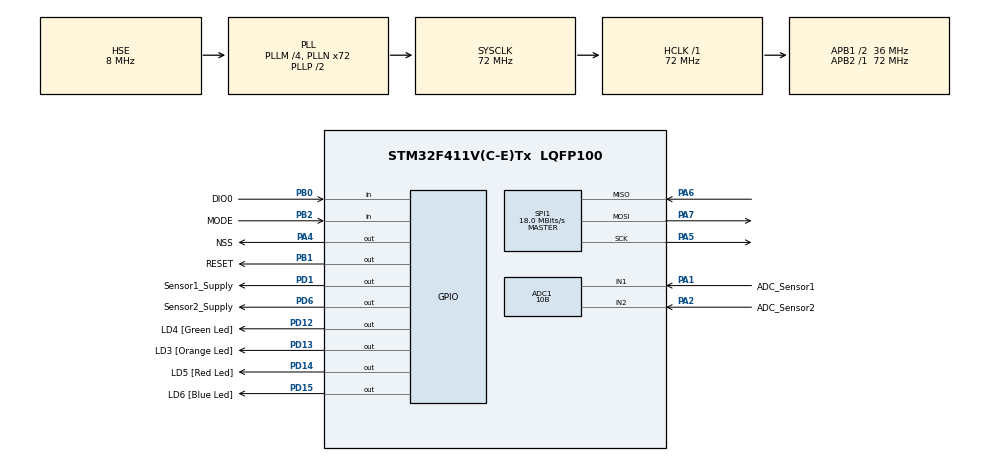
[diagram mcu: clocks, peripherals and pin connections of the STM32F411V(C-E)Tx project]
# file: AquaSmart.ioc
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ADC1.Channel-0\#ChannelRegularConversion=ADC_CHANNEL_1
ADC1.NbrOfConversionFlag=1
ADC1.Rank-0\#ChannelRegularConversion=1
ADC1.Resolution=ADC_RESOLUTION_10B
ADC1.SamplingTime-0\#ChannelRegularConversion=ADC_SAMPLETIME_3CYCLES
ADC1.master=1
FREERTOS.Queues01=myQueueSensor1,1,sensor_t,0,Dynamic,NULL,NULL;myQueueSensor2,1,sensor_t,0,Dynamic,NULL,NULL;myQueueDataSaved,2,t_bool,0,Dynamic,NULL,NULL
FREERTOS.Tasks01=defaultTask,24,128,StartDefaultTask,Default,NULL,Dynamic,NULL,NULL;myTaskSensor1,10,512,StartTaskSensor1,Default,fsm_s1,Dynamic,NULL,NULL;myTaskSensor2,10,512,StartTaskSensor2,Default,fsm_s2,Dynamic,NULL,NULL;myTaskLoRa,16,512,StartTaskLoRa,Default,NULL,Dynamic,NULL,NULL;myTaskLEDs,11,128,StartTaskLEDs,Default,NULL,Dynamic,NULL,NULL
Mcu.Family=STM32F4
Mcu.Name=STM32F411V(C-E)Tx
Mcu.Package=LQFP100
NVIC.PriorityGroup=NVIC_PRIORITYGROUP_4
PA1.GPIO_Label=ADC_Sensor1
PA1.Signal=ADCx_IN1
PA13.Mode=Trace_Asynchronous_SW
PA13.Signal=SYS_JTMS-SWDIO
PA14.Mode=Trace_Asynchronous_SW
PA14.Signal=SYS_JTCK-SWCLK
PA2.GPIO_Label=ADC_Sensor2
PA2.Signal=ADCx_IN2
PA4.GPIO_Label=NSS
PA4.GPIO_PuPd=GPIO_NOPULL
PA4.PinState=GPIO_PIN_SET
PA4.Signal=GPIO_Output
PA5.GPIO_Speed=GPIO_SPEED_FREQ_HIGH
PA5.Mode=Full_Duplex_Master
PA5.Signal=SPI1_SCK
PA6.GPIO_PuPd=GPIO_NOPULL
PA6.GPIO_Speed=GPIO_SPEED_FREQ_HIGH
PA6.Mode=Full_Duplex_Master
PA6.Signal=SPI1_MISO
PA7.GPIO_Speed=GPIO_SPEED_FREQ_HIGH
PA7.Mode=Full_Duplex_Master
PA7.Signal=SPI1_MOSI
PB0.GPIO_Label=DIO0
PB0.Signal=GPIO_Input
PB1.GPIO_Label=RESET
PB1.PinState=GPIO_PIN_SET
PB1.Signal=GPIO_Output
PB2.GPIO_Label=MODE
PB2.Signal=GPIO_Input
PB3.Mode=Trace_Asynchronous_SW
PB3.Signal=SYS_JTDO-SWO
PD1.GPIO_Label=Sensor1_Supply
PD1.Signal=GPIO_Output
PD12.GPIO_Label=LD4 [Green Led]
PD12.Signal=GPIO_Output
PD13.GPIO_Label=LD3 [Orange Led]
PD13.PinState=GPIO_PIN_SET
PD13.Signal=GPIO_Output
PD14.GPIO_Label=LD5 [Red Led]
PD14.Signal=GPIO_Output
PD15.GPIO_Label=LD6 [Blue Led]
PD15.Signal=GPIO_Output
PD6.GPIO_Label=Sensor2_Supply
PD6.Signal=GPIO_Output
PH0\ -\ OSC_IN.Mode=HSE-External-Oscillator
PH0\ -\ OSC_IN.Signal=RCC_OSC_IN
PH1\ -\ OSC_OUT.Mode=HSE-External-Oscillator
PH1\ -\ OSC_OUT.Signal=RCC_OSC_OUT
ProjectManager.HeapSize=0x200
ProjectManager.StackSize=0x400
ProjectManager.TargetToolchain=STM32CubeIDE
RCC.48MHZClocksFreq_Value=48000000
RCC.AHBFreq_Value=72000000
RCC.APB1CLKDivider=RCC_HCLK_DIV2
RCC.APB1Freq_Value=36000000
RCC.APB1TimFreq_Value=72000000
RCC.APB2Freq_Value=72000000
RCC.APB2TimFreq_Value=72000000
RCC.CortexFreq_Value=72000000
RCC.HCLKFreq_Value=72000000
RCC.HSE_VALUE=8000000
RCC.HSI_VALUE=16000000
RCC.LSE_VALUE=32768
RCC.PLLI2SM=5
RCC.PLLI2SN=200
RCC.PLLM=4
RCC.PLLN=72
RCC.PLLQ=3
RCC.PLLSourceVirtual=RCC_PLLSOURCE_HSE
RCC.SYSCLKFreq_VALUE=72000000
RCC.SYSCLKSource=RCC_SYSCLKSOURCE_PLLCLK
RCC.VCOOutputFreq_Value=144000000
SH.ADCx_IN1.0=ADC1_IN1,IN1
SH.ADCx_IN2.0=ADC1_IN2,IN2
SPI1.BaudRatePrescaler=SPI_BAUDRATEPRESCALER_4
SPI1.CalculateBaudRate=18.0 MBits/s
SPI1.Direction=SPI_DIRECTION_2LINES
SPI1.Mode=SPI_MODE_MASTER
SPI1.VirtualType=VM_MASTER
VP_FREERTOS_VS_CMSIS_V2.Mode=CMSIS_V2
board=STM32F411E-DISCO

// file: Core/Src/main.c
/* USER CODE BEGIN Header */
/**
  ******************************************************************************
  * @file           : main.c
  * @brief          : Main program body
  ******************************************************************************
  * @attention
  *
  * <h2><center>&copy; Copyright (c) 2020 STMicroelectronics.
  * All rights reserved.</center></h2>
  *
  * This software component is licensed by ST under BSD 3-Clause license,
  * the "License"; You may not use this file except in compliance with the
  * License. You may obtain a copy of the License at:
  *                        opensource.org/licenses/BSD-3-Clause
  *
  ******************************************************************************
  */
/* USER CODE END Header */

#include "main.h"
#include "cmsis_os.h"
#include "adc.h"
#include "spi.h"
#include "gpio.h"

/* USER CODE BEGIN Includes */
#include "fsm.h"
#include "fsm_sensor.h"
#include "ring_buf.h"
#include <string.h>
#include "stdio.h"
#include "SX1278.h"
/* USER CODE END Includes */

/* USER CODE BEGIN PD */
#define PORT 8080

/*Task times*/
#define SENSOR1_TIME 	 400
#define SENSOR2_TIME 	 500
#define LEDS_TIME	 	 300
#define SEND_DATA_TIME	 10000

/*ID for device*/
#define ID_Device 1

/*Number of defined sensors*/
#define NUMBER_OF_SENSORS 2

/*Sensor 1 parameters*/
#define ID_ph_sensor 1

#define range_ph_basico 600 	 	// Only for test, real value is 2.
#define range_ph_acido 700		// Only for test, real value is 5.
#define range_ph_max 900		// Only for test, real value is 14.

#define ph_measure_period 600	// Test time to measure.
#define ph_sleep_period 1500	// Test time to sleep
#define ph_setup_period 500		// Test time to setting up
#define ph_average 2			// number of measurements to make for 1 measure.

/*Sensor 2 parameters*/
#define ID_turbidity_sensor 2

#define range_turb_min 600  	 	// Only for test.
#define range_turb_basico 800		// Only for test.
#define range_turb_max 800			// Only for test.

#define turb_measure_period 700	// Test time to measure.
#define turb_sleep_period 1500	// Test time to sleep
#define turb_setup_period 500	// Test time to setting up
#define turb_average 2			// number of measurements to make for 1 measure.

/* USER CODE END PD */

/* USER CODE BEGIN PV */
SX1278_hw_t SX1278_hw;
SX1278_t SX1278;

rbuf_t data_ring_buff;

/* Definitions for defaultTask */
osThreadId_t defaultTaskHandle;
const osThreadAttr_t defaultTask_attributes = {
  .name = "defaultTask",
  .priority = (osPriority_t) osPriorityNormal,
  .stack_size = 512 * 4
};
/* Definitions for myTaskSensor1 */
osThreadId_t myTaskSensor1Handle;
const osThreadAttr_t myTaskSensor1_attributes = {
  .name = "myTaskSensor1",
  .priority = (osPriority_t) osPriorityLow4,
  .stack_size = 512 * 4
};
/* Definitions for myTaskLoRa */
osThreadId_t myTaskLoRaHandle;
const osThreadAttr_t myTaskLoRa_attributes = {
  .name = "myTaskLoRa",
  .priority = (osPriority_t) osPriorityLow2,
  .stack_size = 512 * 4
};
/* Definitions for myTaskSensor2 */
osThreadId_t myTaskSensor2Handle;
const osThreadAttr_t myTaskSensor2_attributes = {
  .name = "myTaskSensor2",
  .priority = (osPriority_t) osPriorityLow4,
  .stack_size = 512 * 4
};
/* Definitions for myTaskLEDs */
osThreadId_t myTaskLEDsHandle;
const osThreadAttr_t myTaskLEDs_attributes = {
  .name = "myTaskLEDs",
  .priority = (osPriority_t) osPriorityLow3,
  .stack_size = 512 * 4
};
/* Definitions for myQueueSensor1 */
osMessageQueueId_t myQueueSensor1Handle;
const osMessageQueueAttr_t myQueueSensor1_attributes = {
  .name = "myQueueSensor1"
};
/* Definitions for myQueueSensor2 */
osMessageQueueId_t myQueueSensor2Handle;
const osMessageQueueAttr_t myQueueSensor2_attributes = {
  .name = "myQueueSensor2"
};
/* Definitions for myQueueDataSaved */
osMessageQueueId_t myQueueDataSavedHandle;
const osMessageQueueAttr_t myQueueDataSaved_attributes = {
  .name = "myQueueDataSaved"
};

t_bool sensor1_ON, sensor2_ON;

/* USER CODE END PV */

void SystemClock_Config(void);
void MX_FREERTOS_Init(void);
/* USER CODE BEGIN PFP */
void StartDefaultTask(void *argument);
void StartTaskSensor1(void *argument);
void StartTaskLoRa(void *argument);
void StartTaskSensor2(void *argument);
void StartTaskLEDs(void *argument);
/* USER CODE END PFP */

int main(void)
{
  /* USER CODE BEGIN 1 */
  fsm_sensor_t fsm_s1;
  fsm_sensor_t fsm_s2;

  /* USER CODE END 1 */

  /* MCU Configuration--------------------------------------------------------*/

  /* Reset of all peripherals, Initializes the Flash interface and the Systick. */
  HAL_Init();

  /* Configure the system clock */
  SystemClock_Config();

  /* Initialize all configured peripherals */
  MX_GPIO_Init();
  MX_SPI1_Init();
  MX_ADC1_Init();
  /* USER CODE BEGIN 2 */
  /* Create the queue(s) */
  /* creation of myQueueSensor1 */
  myQueueSensor1Handle = osMessageQueueNew (1, sizeof(sensor_t), &myQueueSensor1_attributes);

  /* creation of myQueueSensor2 */
  myQueueSensor2Handle = osMessageQueueNew (1, sizeof(sensor_t), &myQueueSensor2_attributes);

  /* creation of myQueueDataSaved */
  myQueueDataSavedHandle = osMessageQueueNew (2, sizeof(t_bool), &myQueueDataSaved_attributes);

  /* USER CODE BEGIN RTOS_QUEUES */
  /* add queues, ... */
  /* USER CODE END RTOS_QUEUES */

  /* Create the thread(s) */
  /* creation of defaultTask */
  osKernelInitialize();  /* Call init function for freertos objects (in freertos.c) */

  defaultTaskHandle = osThreadNew(StartDefaultTask, NULL, &defaultTask_attributes);

  /* creation of myTaskSensor1 */
  myTaskSensor1Handle = osThreadNew(StartTaskSensor1, &fsm_s1, &myTaskSensor1_attributes);

  /* creation of myTaskLoRa */
  myTaskLoRaHandle = osThreadNew(StartTaskLoRa, NULL, &myTaskLoRa_attributes);

  /* creation of myTaskSensor2 */
  myTaskSensor2Handle = osThreadNew(StartTaskSensor2, &fsm_s2, &myTaskSensor2_attributes);

  /* creation of myTaskLEDs */
  myTaskLEDsHandle = osThreadNew(StartTaskLEDs, NULL, &myTaskLEDs_attributes);

  /* USER CODE END 2 */

  /* Init scheduler */
  /* Start scheduler */
  osKernelStart();

  /* We should never get here as control is now taken by the scheduler */
  /* Infinite loop */
  while (1)
  {

  }
}

void SystemClock_Config(void)
{
  RCC_OscInitTypeDef RCC_OscInitStruct = {0};
  RCC_ClkInitTypeDef RCC_ClkInitStruct = {0};

  /** Configure the main internal regulator output voltage
  */
  __HAL_RCC_PWR_CLK_ENABLE();
  __HAL_PWR_VOLTAGESCALING_CONFIG(PWR_REGULATOR_VOLTAGE_SCALE1);
  /** Initializes the CPU, AHB and APB busses clocks
  */
  RCC_OscInitStruct.OscillatorType = RCC_OSCILLATORTYPE_HSE;
  RCC_OscInitStruct.HSEState = RCC_HSE_ON;
  RCC_OscInitStruct.PLL.PLLState = RCC_PLL_ON;
  RCC_OscInitStruct.PLL.PLLSource = RCC_PLLSOURCE_HSE;
  RCC_OscInitStruct.PLL.PLLM = 4;
  RCC_OscInitStruct.PLL.PLLN = 72;
  RCC_OscInitStruct.PLL.PLLP = RCC_PLLP_DIV2;
  RCC_OscInitStruct.PLL.PLLQ = 3;
  if (HAL_RCC_OscConfig(&RCC_OscInitStruct) != HAL_OK)
  {
    Error_Handler();
  }
  /** Initializes the CPU, AHB and APB busses clocks
  */
  RCC_ClkInitStruct.ClockType = RCC_CLOCKTYPE_HCLK|RCC_CLOCKTYPE_SYSCLK
                              |RCC_CLOCKTYPE_PCLK1|RCC_CLOCKTYPE_PCLK2;
  RCC_ClkInitStruct.SYSCLKSource = RCC_SYSCLKSOURCE_PLLCLK;
  RCC_ClkInitStruct.AHBCLKDivider = RCC_SYSCLK_DIV1;
  RCC_ClkInitStruct.APB1CLKDivider = RCC_HCLK_DIV2;
  RCC_ClkInitStruct.APB2CLKDivider = RCC_HCLK_DIV1;

  if (HAL_RCC_ClockConfig(&RCC_ClkInitStruct, FLASH_LATENCY_2) != HAL_OK)
  {
    Error_Handler();
  }
}

/* USER CODE BEGIN 4 */

/* USER CODE BEGIN Header_StartDefaultTask */
/**
  * @brief  Function implementing the defaultTask thread.
  * @param  argument: Not used
  * @retval None
  */
/* USER CODE END Header_StartDefaultTask */
void StartDefaultTask(void *argument)
{
  /* init code for USB_HOST */
 // MX_USB_HOST_Init();
  /* USER CODE BEGIN 5 */
  /* Infinite loop */
  for(;;)
  {
    osDelay(1);
  }
  /* USER CODE END 5 */
}

/* USER CODE BEGIN Header_StartTaskSensor1 */
/**
* @brief Function implementing the myTaskSensor1 thread.
* @param argument: fsm_s1, FSM for sensor 1.
* @retval None
*/
/* USER CODE END Header_StartTaskSensor1 */
void StartTaskSensor1(void *argument)
{
  /* USER CODE BEGIN StartTaskSensor1 */
	uint32_t tDelay = 0;
	sensor_t sensor1;
	t_bool sensor1_measured = FALSE;

	ADC_ChannelConfTypeDef sConfig = {0};

    fsm_sensor_t* fsm_s1 = (fsm_sensor_t*)argument;

    sensor_initialization(&sensor1, ID_Device, ID_ph_sensor, Sensor1_Supply_Pin, range_ph_basico, range_ph_acido, range_ph_max, ph_setup_period, ph_sleep_period, ph_measure_period, ph_average);
    fsm_sensor_init(fsm_s1, &sensor1);

    tDelay = osKernelGetTickCount();
/* Infinite loop */
  for(;;)
  {

	/* Select ADC Channel 1
    *  The measurement needs an ADC channel change, so, this
    * check, ensure the complete ADC conversión without channel change*/
	if(fsm_s1->fsm.current_state <= 4 && sensor2_ON == FALSE)
	{
		sensor1_ON = TRUE;
		sConfig.Channel = ADC_CHANNEL_1;
		sConfig.Rank = 1;
		sConfig.SamplingTime = ADC_SAMPLETIME_3CYCLES;

		if (HAL_ADC_ConfigChannel(&hadc1, &sConfig) != HAL_OK)
		{
			Error_Handler();
		}
		fsm_fire(&(fsm_s1->fsm));
		osMessageQueuePut (myQueueSensor1Handle, fsm_s1->param, 0, 0);
		osMessageQueuePut(myQueueDataSavedHandle, (t_bool*) &sensor1_measured, 0, 0);

	}
	else sensor1_ON = FALSE;

	if(fsm_s1->fsm.current_state > 4)
	{
		sensor1_measured = TRUE;
		fsm_fire(&(fsm_s1->fsm));
		osMessageQueuePut (myQueueSensor1Handle, fsm_s1->param, 0, 0);
		osMessageQueuePut(myQueueDataSavedHandle, (t_bool*) &sensor1_measured, 0, 0);
	}
    tDelay += pdMS_TO_TICKS(SENSOR1_TIME);
    osDelayUntil(tDelay);
  }
  /* USER CODE END StartTaskSensor1 */
}

/* USER CODE BEGIN Header_StartTaskLoRa */
/**
* @brief Function implementing the myTaskLoRa thread.
* @param argument: Not used
* @retval None
*/
/* USER CODE END Header_StartTaskLoRa */
void StartTaskLoRa(void *argument)
{
  /* USER CODE BEGIN StartTaskLoRa */
  uint32_t tDelay = 0;
  uint8_t master;
  t_bool sensor1_state = FALSE;
  t_bool sensor2_state = FALSE;

  tDelay = osKernelGetTickCount();

	/*master 1 for all devices, 0 for GW*/
	master = 1;

	Lora_inicio(master);

  /* Infinite loop */
  for(;;)
  {
	osMessageQueueGet(myQueueDataSavedHandle, &sensor1_state, 0, 0);
	osMessageQueueGet(myQueueDataSavedHandle, &sensor2_state, 0, 0);
	if (master == 1)
	{
		/*Check if at least, one measure for every sensor has been made
		 * to ensure data in the ringbuf*/
		if(sensor1_state && sensor2_state)
		{
			for(uint8_t i = 0; i<NUMBER_OF_SENSORS; i++)
			{
				Lora_envia();
			}
		}
	}
	else
	{
		Lora_recibe();
	}
	tDelay += pdMS_TO_TICKS(SEND_DATA_TIME);
	osDelayUntil(tDelay);
  }
  /* USER CODE END StartTaskLoRa */
}

/* USER CODE BEGIN Header_StartTaskSensor2 */
/**
* @brief Function implementing the myTaskSensor2 thread.
* @param argument: fsm_s2, FSM for sensor 2.
* @retval None
*/
/* USER CODE END Header_StartTaskSensor2 */
void StartTaskSensor2(void *argument)
{
  /* USER CODE BEGIN StartTaskSensor2 */
	uint32_t tDelay = 0;
	sensor_t sensor2;
	t_bool sensor2_measured = FALSE;

	ADC_ChannelConfTypeDef sConfig = {0};

	fsm_sensor_t* fsm_s2 = (fsm_sensor_t*)argument;

    sensor_initialization(&sensor2, ID_Device, ID_turbidity_sensor, Sensor2_Supply_Pin, range_turb_min, range_turb_basico, range_turb_max, turb_setup_period, turb_sleep_period, turb_measure_period, turb_average);
	fsm_sensor_init(fsm_s2, &sensor2);

	tDelay = osKernelGetTickCount();
	/* Infinite loop */
	for(;;)
	{

		/* Select ADC Channel 2
	     *  The measurement needs an ADC channel change, so, this
	     *  check, ensure the complete ADC conversión without channel change*/
		if(fsm_s2->fsm.current_state <= 4 && sensor1_ON == FALSE)
		{
			sensor2_ON = TRUE;
			sConfig.Channel = ADC_CHANNEL_2;
			sConfig.Rank = 1;
			sConfig.SamplingTime = ADC_SAMPLETIME_3CYCLES;

			if (HAL_ADC_ConfigChannel(&hadc1, &sConfig) != HAL_OK)
			{
				Error_Handler();
			}
			fsm_fire(&(fsm_s2->fsm));
			osMessageQueuePut (myQueueSensor2Handle, fsm_s2->param, 0, 0);
			osMessageQueuePut(myQueueDataSavedHandle, (t_bool*) &sensor2_measured, 0, 0);
		}
		else sensor2_ON = FALSE;

		if(fsm_s2->fsm.current_state > 4)
		{
			sensor2_measured = TRUE;
			fsm_fire(&(fsm_s2->fsm));

			osMessageQueuePut (myQueueSensor2Handle, fsm_s2->param, 0, 0);
			osMessageQueuePut(myQueueDataSavedHandle, (t_bool*) &sensor2_measured, 0, 0);
		}

		tDelay += pdMS_TO_TICKS(SENSOR2_TIME);
		osDelayUntil(tDelay);
	}
  /* USER CODE END StartTaskSensor2 */
}

/* USER CODE BEGIN Header_StartTaskLEDs */
/**
* @brief Function implementing the myTaskLEDs thread.
* @param argument: Not used
* @retval None
*/
/* USER CODE END Header_StartTaskLEDs */
void StartTaskLEDs(void *argument)
{
  /* USER CODE BEGIN StartTaskLEDs */
	uint32_t tDelay = 0;
	sensor_t sensor1;
	sensor_t sensor2;

	tDelay = osKernelGetTickCount();

  /* Infinite loop */
  for(;;)
  {
		osMessageQueueGet (myQueueSensor1Handle, &sensor1, NULL, 0);
		osMessageQueueGet (myQueueSensor2Handle, &sensor2, NULL, 0);

		if(sensor1.measuring == TRUE || sensor2.measuring == TRUE) /*LED BLUE => MEASURING*/
		{
			HAL_GPIO_WritePin(LD6_GPIO_Port, LD6_Pin, SET);
			HAL_GPIO_WritePin(LD4_GPIO_Port, LD4_Pin, RESET);
		}
		else
		{
			if(sensor1.sleeping == TRUE && sensor2.sleeping == TRUE)
			{
				HAL_GPIO_WritePin(LD6_GPIO_Port, LD6_Pin, RESET);
				if(sensor1.error == TRUE || sensor2.error == TRUE) /*RED LED => SLEEPING SOMETHING WRONG*/
				{
					HAL_GPIO_WritePin(LD5_GPIO_Port, LD5_Pin, SET);
					HAL_GPIO_WritePin(LD4_GPIO_Port, LD4_Pin, RESET);
				}
				else	/*GREEN LED => SLEEPING ALL OK*/
				{
					HAL_GPIO_WritePin(LD5_GPIO_Port, LD5_Pin, RESET);
					HAL_GPIO_WritePin(LD4_GPIO_Port, LD4_Pin, SET);
				}

			}
			else /*STATE UNREACHABLE*/
			{
				HAL_GPIO_WritePin(LD6_GPIO_Port, LD6_Pin, RESET);
				HAL_GPIO_WritePin(LD4_GPIO_Port, LD4_Pin, RESET);
			}
		}

		/*ORANGE LED => ALARM FOR WATER QUALITY*/
		if(sensor1.alarm == TRUE || sensor2.alarm == TRUE) HAL_GPIO_WritePin(LD3_GPIO_Port, LD3_Pin, SET);
		else HAL_GPIO_WritePin(LD3_GPIO_Port, LD3_Pin, RESET);

		tDelay += pdMS_TO_TICKS(SENSOR2_TIME);
	    osDelayUntil(tDelay);
  }
  /* USER CODE END StartTaskLEDs */
}

/**
  * @brief  Save data into the ring buffer.
  * @param: sensor data type sensor_buf_t to send
  * 				 by wireless communication.
  * @retval None
  */
void save_new_data(sensor_buf_t data)
{
	ringbuf_put(&data_ring_buff, data);
}

/**
  * @brief  Initialize the LoRa device.
  * @param: flag to indicate if master or slave functionality.
  * @retval None
  */
void Lora_inicio(int init){
	int ret;
	//initialize LoRa module
	SX1278_hw.dio0.port = DIO0_GPIO_Port;
	SX1278_hw.dio0.pin = DIO0_Pin;
	SX1278_hw.nss.port = NSS_GPIO_Port;
	SX1278_hw.nss.pin = NSS_Pin;
	SX1278_hw.reset.port = RESET_GPIO_Port;
	SX1278_hw.reset.pin = RESET_Pin;
	SX1278_hw.spi = &hspi1;
	SX1278.readBytes=0;
	SX1278.rxBuffer[0]=0;
	SX1278.hw = &SX1278_hw;

	SX1278_begin(&SX1278, SX1278_433MHZ, SX1278_POWER_17DBM, SX1278_LORA_SF_8,
			SX1278_LORA_BW_20_8KHZ, 10);
	while (ret!=1){
		if (init == 1) {
			ret = SX1278_LoRaEntryTx(&SX1278, 16, 2000);
		} else {
			ret = SX1278_LoRaEntryRx(&SX1278, 16, 2000); //tiene que valer 1
		}
	}
}

/**
  * @brief  Read data from LoRa device.
  * @param  None
  * @retval None
  */
void Lora_recibe(void){
	int ret;
	char buffer[64];
	ret = SX1278_LoRaRxPacket(&SX1278);
	if (ret > 0) {
		SX1278_read(&SX1278, (uint8_t *) buffer, ret);
	}
}

/**
  * @brief  Read data from ring buffer and send it through LoRa device.
  * @param  None
  * @retval None
  */

void Lora_envia(void){
	int ret;
	char buffer[64];
	int message_length;
	sensor_buf_t data;

	data = ringbuf_get(&data_ring_buff);

	message_length = sprintf(buffer, "AquaSmart %d %d %d %d %d %d %d\n", data.Device_ID, data.Sensor_ID, data.measure, data.alarm, data.error, data.threshold_L, data.threshold_H);
	ret = SX1278_LoRaEntryTx(&SX1278, message_length, 2000);
	ret = SX1278_LoRaTxPacket(&SX1278, (uint8_t *) buffer, message_length, 2000);
}
/* USER CODE END 4 */

void Error_Handler(void)
{
}

/************************ (C) COPYRIGHT STMicroelectronics *****END OF FILE****/

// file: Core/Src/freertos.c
/* USER CODE BEGIN Header */
/**
  ******************************************************************************
  * File Name          : freertos.c
  * Description        : Code for freertos applications
  ******************************************************************************
  * @attention
  *
  * <h2><center>&copy; Copyright (c) 2020 STMicroelectronics.
  * All rights reserved.</center></h2>
  *
  * This software component is licensed by ST under Ultimate Liberty license
  * SLA0044, the "License"; You may not use this file except in compliance with
  * the License. You may obtain a copy of the License at:
  *                             www.st.com/SLA0044
  *
  ******************************************************************************
  */
/* USER CODE END Header */

#include "FreeRTOS.h"
#include "task.h"
#include "main.h"
#include "cmsis_os.h"

/* USER CODE BEGIN Includes */
#include "fsm.h"
#include "fsm_sensor.h"

/* USER CODE END Includes */

/* USER CODE BEGIN Variables */
t_bool sensor1_ON, sensor2_ON;

/* USER CODE END Variables */
/* Definitions for defaultTask */
osThreadId_t defaultTaskHandle;
const osThreadAttr_t defaultTask_attributes = {
  .name = "defaultTask",
  .priority = (osPriority_t) osPriorityNormal,
  .stack_size = 128 * 4
};
/* Definitions for myTaskSensor1 */
osThreadId_t myTaskSensor1Handle;
const osThreadAttr_t myTaskSensor1_attributes = {
  .name = "myTaskSensor1",
  .priority = (osPriority_t) osPriorityLow2,
  .stack_size = 512 * 4
};
/* Definitions for myTaskSensor2 */
osThreadId_t myTaskSensor2Handle;
const osThreadAttr_t myTaskSensor2_attributes = {
  .name = "myTaskSensor2",
  .priority = (osPriority_t) osPriorityLow2,
  .stack_size = 512 * 4
};
/* Definitions for myTaskLoRa */
osThreadId_t myTaskLoRaHandle;
const osThreadAttr_t myTaskLoRa_attributes = {
  .name = "myTaskLoRa",
  .priority = (osPriority_t) osPriorityBelowNormal,
  .stack_size = 512 * 4
};
/* Definitions for myTaskLEDs */
osThreadId_t myTaskLEDsHandle;
const osThreadAttr_t myTaskLEDs_attributes = {
  .name = "myTaskLEDs",
  .priority = (osPriority_t) osPriorityLow3,
  .stack_size = 128 * 4
};
/* Definitions for myQueueSensor1 */
osMessageQueueId_t myQueueSensor1Handle;
const osMessageQueueAttr_t myQueueSensor1_attributes = {
  .name = "myQueueSensor1"
};
/* Definitions for myQueueSensor2 */
osMessageQueueId_t myQueueSensor2Handle;
const osMessageQueueAttr_t myQueueSensor2_attributes = {
  .name = "myQueueSensor2"
};
/* Definitions for myQueueDataSaved */
osMessageQueueId_t myQueueDataSavedHandle;
const osMessageQueueAttr_t myQueueDataSaved_attributes = {
  .name = "myQueueDataSaved"
};

void StartDefaultTask(void *argument);
void StartTaskSensor1(void *argument);
void StartTaskSensor2(void *argument);
void StartTaskLoRa(void *argument);
void StartTaskLEDs(void *argument);

void MX_FREERTOS_Init(void); /* (MISRA C 2004 rule 8.1) */

void MX_FREERTOS_Init(void) {
  /* USER CODE BEGIN Init */
	fsm_sensor_t fsm_s1;
	fsm_sensor_t fsm_s2;
  /* USER CODE END Init */

  /* Create the queue(s) */
  /* creation of myQueueSensor1 */
  myQueueSensor1Handle = osMessageQueueNew (1, sizeof(sensor_t), &myQueueSensor1_attributes);

  /* creation of myQueueSensor2 */
  myQueueSensor2Handle = osMessageQueueNew (1, sizeof(sensor_t), &myQueueSensor2_attributes);

  /* creation of myQueueDataSaved */
  myQueueDataSavedHandle = osMessageQueueNew (1, sizeof(t_bool), &myQueueDataSaved_attributes);

  /* Create the thread(s) */
  /* creation of defaultTask */
  defaultTaskHandle = osThreadNew(StartDefaultTask, NULL, &defaultTask_attributes);

  /* creation of myTaskSensor1 */
  myTaskSensor1Handle = osThreadNew(StartTaskSensor1, &fsm_s1, &myTaskSensor1_attributes);

  /* creation of myTaskSensor2 */
  myTaskSensor2Handle = osThreadNew(StartTaskSensor2, &fsm_s2, &myTaskSensor2_attributes);

  /* creation of myTaskLoRa */
  myTaskLoRaHandle = osThreadNew(StartTaskLoRa, NULL, &myTaskLoRa_attributes);

  /* creation of myTaskLEDs */
  myTaskLEDsHandle = osThreadNew(StartTaskLEDs, NULL, &myTaskLEDs_attributes);

}

void StartDefaultTask(void *argument)
{
  for(;;)
  {
    osDelay(1);
  }
}

void StartTaskSensor1(void *argument)
{
  /* USER CODE BEGIN StartTaskSensor1 */
	uint32_t tDelay = 0;
	sensor_t sensor1;
	t_bool sensor1_measured = FALSE;

    fsm_sensor_t* fsm_s1 = (fsm_sensor_t*)argument;

    sensor_initialization(&sensor1, ID_Device, ID_ph_sensor, Sensor1_Supply_Pin, ADC_Channel1, range_ph_acido, range_ph_basico, range_ph_max, ph_setup_period, ph_sleep_period, ph_measure_period, ph_average);
    fsm_sensor_init(fsm_s1, &sensor1);

    tDelay = osKernelGetTickCount();
  /* Infinite loop */
  for(;;)
  {

	if(fsm_s1->fsm.current_state <= 4 && sensor2_ON == FALSE)
	{
		sensor1_ON = TRUE;
		adc_config_ch1();
		fsm_fire(&(fsm_s1->fsm));
		osMessageQueuePut (myQueueSensor1Handle, fsm_s1->param, 0, 0);
		osMessageQueuePut(myQueueDataSavedHandle, (t_bool*) &sensor1_measured, 0, 0);
	}
	else sensor1_ON = FALSE;

	if(fsm_s1->fsm.current_state > 4)
	{
		sensor1_measured = TRUE;
		fsm_fire(&(fsm_s1->fsm));
		osMessageQueuePut (myQueueSensor1Handle, fsm_s1->param, 0, 0);
		osMessageQueuePut(myQueueDataSavedHandle, (t_bool*) &sensor1_measured, 0, 0);
	}
    tDelay += pdMS_TO_TICKS(SENSOR1_TIME);
    osDelayUntil(tDelay);
  }
  /* USER CODE END StartTaskSensor1 */
}

void StartTaskSensor2(void *argument)
{
  /* USER CODE BEGIN StartTaskSensor2 */
	uint32_t tDelay = 0;
	sensor_t sensor2;
	t_bool sensor2_measured = FALSE;

    fsm_sensor_t* fsm_s2 = (fsm_sensor_t*)argument;

    sensor_initialization(&sensor2, ID_Device, ID_turbidity_sensor, Sensor2_Supply_Pin, ADC_Channel2, range_turb_min, range_turb_basico, range_turb_max, turb_setup_period, turb_sleep_period, turb_measure_period, turb_average);
    fsm_sensor_init(fsm_s2, &sensor2);

    tDelay = osKernelGetTickCount();
  for(;;)
  {

	/*Select ADC Channel 1*/

	if(fsm_s2->fsm.current_state <= 4 && sensor1_ON == FALSE)
	{
		sensor2_ON = TRUE;
		adc_config_ch2();
		fsm_fire(&(fsm_s2->fsm));
		osMessageQueuePut (myQueueSensor2Handle, fsm_s2->param, 0, 0);
		osMessageQueuePut(myQueueDataSavedHandle, (t_bool*) &sensor2_measured, 0, 0);
	}
	else sensor2_ON = FALSE;

	if(fsm_s2->fsm.current_state > 4)
	{
		sensor2_measured = TRUE;
		fsm_fire(&(fsm_s2->fsm));
		osMessageQueuePut (myQueueSensor2Handle, fsm_s2->param, 0, 0);
		osMessageQueuePut(myQueueDataSavedHandle, (t_bool*) &sensor2_measured, 0, 0);
	}
	//	HAL_GPIO_TogglePin(LD6_GPIO_Port, LD6_Pin);
    tDelay += pdMS_TO_TICKS(SENSOR2_TIME);
    osDelayUntil(tDelay);
  }
  /* USER CODE END StartTaskSensor2 */
}

void StartTaskLoRa(void *argument)
{
  /* USER CODE BEGIN StartTaskLoRa */
	uint32_t tDelay = 0;
	tDelay = osKernelGetTickCount();
	uint8_t master;
	t_bool sensor1_state = FALSE;
	t_bool sensor2_state = FALSE;

	/*master 1 for all devices, 0 for GW*/
	master = 1;

	Lora_inicio(master);  //0 es esclavo, 1 es maestro

	/* Infinite loop */
	for(;;)
	{
	  osMessageQueueGet(myQueueDataSavedHandle, &sensor1_state, 0, 0);
	  osMessageQueueGet(myQueueDataSavedHandle, &sensor2_state, 0, 0);

	if (master == 1)
	{
	//	if(sensor1_state && sensor2_state)
		if(sensor1_state)
		{
			for(uint8_t i = 0; i<NUMBER_OF_SENSORS; i++)
			{
				Lora_envia();
			}
		}
	}
	else
	{
		Lora_recibe();
	}
	tDelay += pdMS_TO_TICKS(SEND_DATA_TIME);
	osDelayUntil(tDelay);
	}
  /* USER CODE END StartTaskLoRa */
}

void StartTaskLEDs(void *argument)
{
  /* USER CODE BEGIN StartTaskLEDs */
	uint32_t tDelay = 0;
	sensor_t sensor1;
	sensor_t sensor2;

	tDelay = osKernelGetTickCount();

	/* Infinite loop */
	for(;;)
	{
		osMessageQueueGet (myQueueSensor1Handle, &sensor1, NULL, 0);
		//osMessageQueueGet (myQueueSensor2Handle, &sensor2, NULL, 0);

		//if(sensor1.measuring == TRUE || sensor2.measuring == TRUE) /*LED BLUE => MEASURING*/
		if(sensor1.measuring == TRUE) /*LED BLUE => MEASURING*/
		{
			HAL_GPIO_WritePin(LD6_GPIO_Port, LD6_Pin, SET);
			HAL_GPIO_WritePin(LD4_GPIO_Port, LD4_Pin, RESET);
		}
		else
		{
			if(sensor1.sleeping == TRUE)
//			if(sensor1.sleeping == TRUE && sensor2.sleeping == TRUE)
			{
				HAL_GPIO_WritePin(LD6_GPIO_Port, LD6_Pin, RESET);
//				if(sensor1.error == TRUE || sensor2.error == TRUE) /*RED LED => SLEEPING SOMETHING WRONG*/
				if(sensor1.error == TRUE) /*RED LED => SLEEPING SOMETHING WRONG*/
				{
					HAL_GPIO_WritePin(LD5_GPIO_Port, LD5_Pin, SET);
					HAL_GPIO_WritePin(LD4_GPIO_Port, LD4_Pin, RESET);
				}
				else	/*GREEN LED => SLEEPING ALL OK*/
				{
					HAL_GPIO_WritePin(LD5_GPIO_Port, LD5_Pin, RESET);
					HAL_GPIO_WritePin(LD4_GPIO_Port, LD4_Pin, SET);
				}

			}
			else /*STATE UNREACHABLE*/
			{
				HAL_GPIO_WritePin(LD6_GPIO_Port, LD6_Pin, RESET);
				HAL_GPIO_WritePin(LD4_GPIO_Port, LD4_Pin, RESET);
			}
		}

//		if(sensor1.alarm == TRUE || sensor2.alarm == TRUE) HAL_GPIO_WritePin(LD3_GPIO_Port, LD3_Pin, SET);
		if(sensor1.alarm == TRUE) HAL_GPIO_WritePin(LD3_GPIO_Port, LD3_Pin, SET);
		else HAL_GPIO_WritePin(LD3_GPIO_Port, LD3_Pin, RESET);

		tDelay += pdMS_TO_TICKS(SENSOR2_TIME);
		osDelayUntil(tDelay);
	}
  /* USER CODE END StartTaskLEDs */
}

/************************ (C) COPYRIGHT STMicroelectronics *****END OF FILE****/
